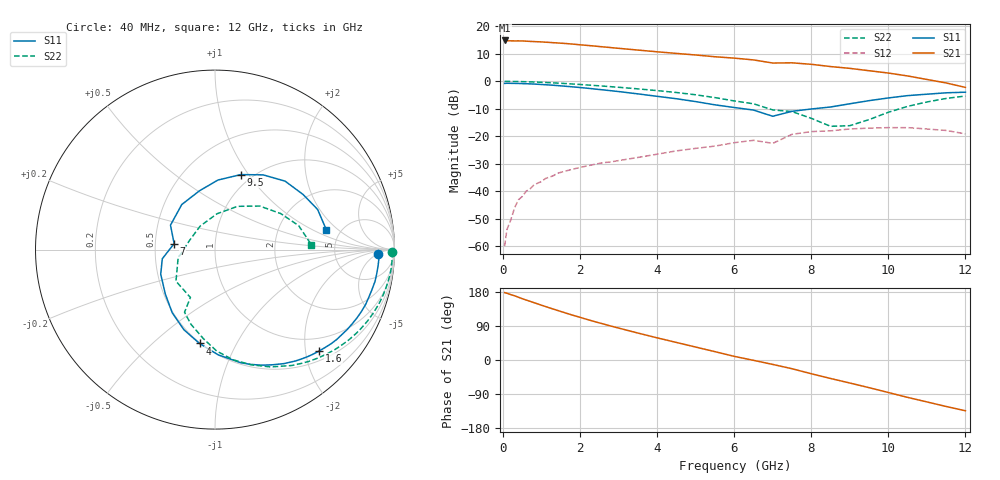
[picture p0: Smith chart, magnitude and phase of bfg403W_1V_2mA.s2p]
! Filename: 12bfg403.001
! BFG403W Field A1
! V1=8.680E-001V,V2=1.000E+000V, I1=2.905E-005A, I2=2.000E-003A
# GHz  S  MA  R 50
!  S11  S21  S12  S22
!Freq(GHz)  Mag  Ang  Mag  Ang  Mag  Ang  Mag  Ang
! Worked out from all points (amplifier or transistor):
!   44 points, 40 MHz to 12 GHz, reference 50 ohm
!   highest |S21| = 14.8 dB at 40 MHz (marker M1)
!   |S21| within 3 dB of that: start of sweep to 3.109 GHz
!   unconditionally stable (mu >= 1): start of sweep to 41.83 MHz; 3.159 GHz to end of sweep
!   at 700 MHz: K = 0.20, MSG = 26.8 dB, |S12| = -39.2 dB
!   at 2.4 GHz: K = 0.70, MSG = 21.5 dB, |S12| = -30.2 dB
!   at 12 GHz: K = 2.64, MAG = 1.4 dB, |S12| = -19.2 dB
!   S11 on the Smith chart (normalised r, x): 40 MHz: 20, -6; 1.6 GHz: 0.69, -2.28; 4 GHz: 0.49, -0.72; 7 GHz: 0.63, +0.04; 9.5 GHz: 0.89, +0.92; 12 GHz: 3.85, +1.42
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0.04  0.911 -1.6  5.494 177.9  0.001 37.5  0.989 -0.7
0.1  0.915 -2.9  5.412 176.2  0.002 92.9  0.989 -2.0
0.4  0.909 -11.2  5.395 165.5  0.007 83.1  0.984 -8.5
1  0.869 -28.4  5.165 144.5  0.015 70.1  0.953 -20.9
1.6  0.81 -44.2  4.849 124.8  0.023 60.6  0.906 -32.5
2.2  0.742 -58.9  4.456 106.5  0.029 53.3  0.851 -43.2
3  0.647 -77.1  3.952 84.2  0.036 46.7  0.774 -56.6
3.5  0.587 -88.2  3.674 71.1  0.041 43.5  0.724 -64.6
4  0.53 -99.4  3.417 58.5  0.047 40.4  0.673 -72.5
4.5  0.479 -111.2  3.194 46.3  0.054 36.6  0.622 -80.7
5  0.425 -124.1  2.989 34.1  0.06 31.8  0.565 -89.1
5.5  0.371 -138.3  2.778 22.0  0.066 26.3  0.502 -97.2
6  0.332 -155.6  2.622 9.6  0.076 18.2  0.437 -107.9
6.5  0.298 -170.2  2.433 -0.9  0.084 17.0  0.388 -115.9
7  0.23 171.7  2.135 -11.7  0.074 15.3  0.3 -117.2
7.5  0.283 151.2  2.154 -23.0  0.108 6.1  0.28 -141.0
8  0.312 126.4  2.024 -36.3  0.121 -7.2  0.211 -166.9
8.5  0.339 104.8  1.843 -48.8  0.125 -18.2  0.151 160.4
9.5  0.442 71.0  1.548 -73.0  0.14 -41.1  0.2 86.8
10.5  0.546 44.3  1.244 -98.6  0.143 -67.0  0.348 44.2
11.5  0.614 21.3  0.928 -122.7  0.127 -94.8  0.485 16.0
12  0.63 10.2  0.77 -133.9  0.11 -111.4  0.537 3.0
